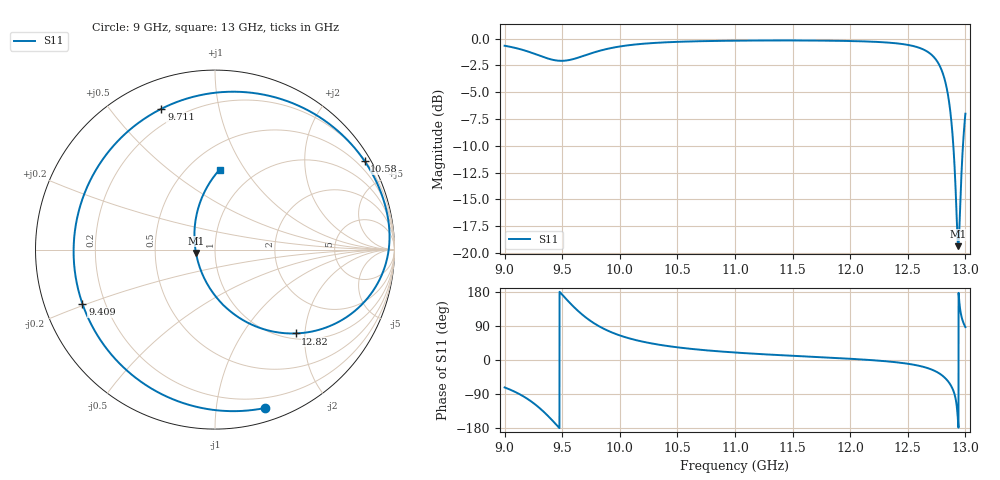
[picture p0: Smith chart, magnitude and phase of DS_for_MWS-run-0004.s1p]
! TOUCHSTONE file generated by CST DESIGN STUDIO
! Date and time: Tue Feb  4 14:03:00 2025
! Project name: C:\Work\MatlabApps\UnitCellOptimizationMatlab\CST\unitcell.cst
! Tree item: Tasks\Sweep1\SPara1\S-Parameters
! Header version: 2024
! Port assignment regex: !\s*Touchstone port\s*([0-9]+)\s*=\s*(CST MWS port|CST DES external port|CST DES block port)\s*(.+)\s* \(\"(.*)\"\)(\s*mode\s*([0-9]+))?.*
! Touchstone port assignment:
! Touchstone port 1 = CST DES external port 1 ("")
# GHz S MA R 50
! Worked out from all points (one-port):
!   4001 points, 9 GHz to 13 GHz, reference 50 ohm
!   lowest |S11| = -19.4 dB at 12.94 GHz (marker M1), VSWR 1.24, Z = 40.4 - j1.58 ohm
!   |S11| at or under -10 dB: 12.9 GHz to 12.98 GHz (83.17 MHz wide, 0.643 % of centre)
!   S11 on the Smith chart (normalised r, x): 9 GHz: 0.11, -1.36; 9.409 GHz: 0.12, -0.19; 9.711 GHz: 0.13, +0.68; 10.58 GHz: 0.23, +3.65; 12.82 GHz: 1.11, -1.79; 13 GHz: 0.70, +0.78
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9  0.9257 -72.3
9.13  0.8938 -90.2
9.23  0.8603 -109.2
9.319  0.8267 -130.9
9.409  0.798 -157.7
9.5  0.7874 172.3
9.611  0.8062 137.0
9.711  0.8395 110.8
9.832  0.8791 87.0
10  0.9185 64.8
10.216  0.947 47.3
10.5  0.9653 33.5
10.582  0.9685 30.6
11  0.9774 19.8
11.5  0.9797 11.1
12  0.9738 3.2
12.5  0.9342 -9.9
12.697  0.8485 -24.0
12.763  0.7705 -33.4
12.819  0.6481 -46.1
12.854  0.5251 -58.0
12.881  0.3966 -71.2
12.9  0.2892 -84.7
12.925  0.1444 -121.9
12.938  0.1077 -169.7
12.95  0.1405 144.9
12.98  0.325 100.5
13  0.4464 86.7
